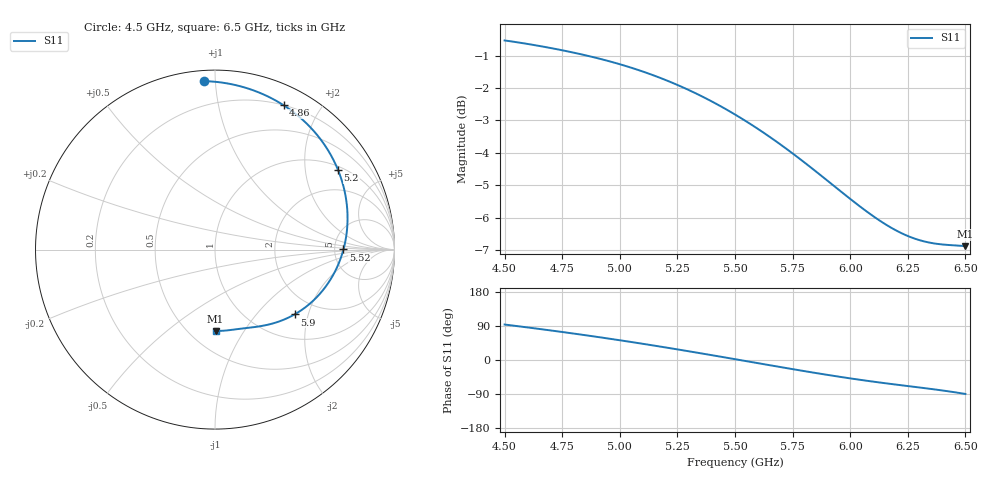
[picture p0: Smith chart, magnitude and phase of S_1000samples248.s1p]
! TOUCHSTONE file generated by CST MICROWAVE STUDIO
! Date and time: Thu Oct 27 12:35:28 2022
! Project name: L.cst
! Parameters = {Di=1.27; Epsilon_r=1.56; InnerDiameter=1.27; Length=2; Lf=10; Lg=60; OuterConductorThickness=0.2921; OuterDiameter=3.6; Wf=3; Wp=41.2; de=1.5; df=6.8; g=0.8; gx=1.87985; gy=4.71002; h=2.34; hf=1.524; px=11.4526; py=10.9061; w=9.7; wx=9.57272; wy=6.19609}
! Header version: 2018
! Port assignment regex: !\s*Touchstone port\s*([0-9]+)\s*=\s*(CST MWS port|CST DS port)\s*([0-9]+|Zmin|Zmax)\s*\(\"(.*)\"\)(\s*mode\s*([0-9]+))?.*
! Touchstone port assignment:
! Touchstone port 1 = CST MWS port 1 ("")
# GHz S DB R 50
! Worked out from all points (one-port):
!   101 points, 4.5 GHz to 6.5 GHz, reference 50 ohm
!   lowest |S11| = -6.9 dB at 6.5 GHz (marker M1), VSWR 2.66, Z = 33.2 - j37.8 ohm
!   |S11| at or under -10 dB: nowhere
!   S11 on the Smith chart (normalised r, x): 4.5 GHz: 0.06, +0.94; 4.86 GHz: 0.20, +1.56; 5.2 GHz: 1.12, +2.99; 5.52 GHz: 6.04, +0.02; 5.9 GHz: 1.53, -1.64; 6.5 GHz: 0.66, -0.76
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4.5  -0.53 93.6
4.58  -0.62 87.5
4.64  -0.69 82.8
4.7  -0.77 78.0
4.76  -0.85 73.1
4.86  -1.01 64.6
4.92  -1.11 59.3
5  -1.27 52.1
5.1  -1.49 42.7
5.16  -1.65 36.9
5.2  -1.76 33.0
5.26  -1.94 27.0
5.32  -2.13 20.9
5.38  -2.35 14.7
5.44  -2.57 8.5
5.5  -2.82 2.2
5.52  -2.90 0.1
5.58  -3.17 -6.3
5.64  -3.46 -12.6
5.7  -3.76 -18.9
5.76  -4.07 -25.1
5.82  -4.40 -31.2
5.9  -4.85 -39.1
6  -5.42 -48.5
6.12  -6.05 -58.7
6.26  -6.60 -69.5
6.4  -6.83 -80.4
6.5  -6.88 -89.6
